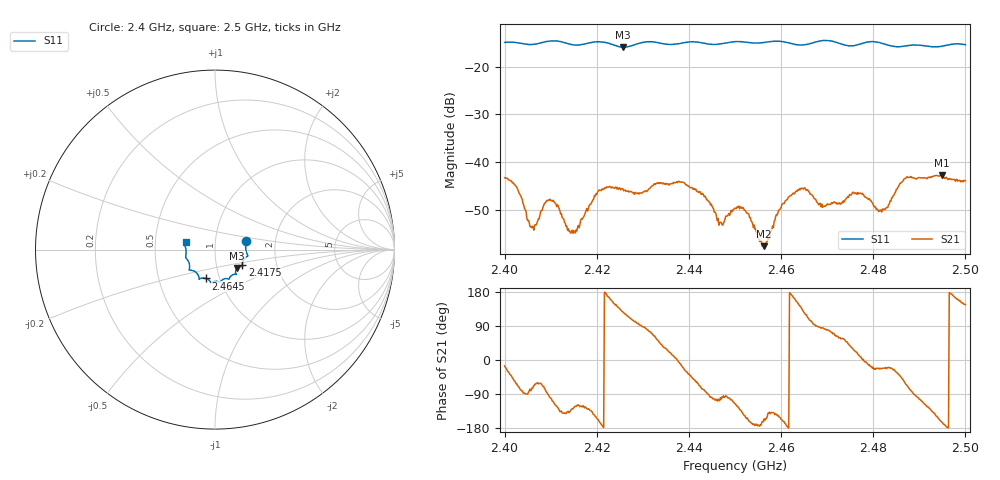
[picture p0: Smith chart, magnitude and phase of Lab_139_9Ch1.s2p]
# Hz S RI R 50
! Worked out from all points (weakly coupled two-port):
!   601 points, 2.4 GHz to 2.5 GHz, reference 50 ohm
!   highest |S21| = -42.74 dB at 2.4948 GHz (marker M1); lowest = -57.6 dB at 2.4563 GHz (marker M2)
!   lowest |S11| = -15.9 dB at 2.4257 GHz (marker M3), VSWR 1.38, Z = 62.5 - j13.1 ohm
!   |S11| at or under -10 dB: start of sweep to end of sweep
!   S12 and S22 are empty: the file has one direction only
!   S11 on the Smith chart (normalised r, x): 2.4 GHz: 1.41, +0.14; 2.4175 GHz: 1.34, -0.23; 2.4645 GHz: 0.86, -0.28; 2.5 GHz: 0.72, +0.06
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2.4e9  0.1729 0.0486  0.00661 -0.00181  0 0  0 0
2.402833e9  0.1745 0.0354  0.00194 -0.00481  0 0  0 0
2.405833e9  0.1705 0.00407  0.000444 -0.00201  0 0  0 0
2.409667e9  0.1824 -0.0316  -0.000384 -0.00398  0 0  0 0
2.414167e9  0.1651 -0.0481  -0.00136 -0.00131  0 0  0 0
2.416667e9  0.1529 -0.074  -0.00136 -0.00214  0 0  0 0
2.4175e9  0.1519 -0.0832  -0.00163 -0.00243  0 0  0 0
2.420667e9  0.154 -0.0974  -0.00486 -0.00131  0 0  0 0
2.425667e9  0.1229 -0.1019  -0.00317 0.00419  0 0  0 0
2.433333e9  0.1131 -0.1373  0.00376 0.00468  0 0  0 0
2.4425e9  0.0721 -0.1637  0.00163 -0.00455  0 0  0 0
2.447e9  0.0405 -0.1688  -0.000542 -0.00227  0 0  0 0
2.45e9  0.0288 -0.1807  -0.00143 -0.00297  0 0  0 0
2.4525e9  0.0203 -0.1791  -0.00266 -0.00125  0 0  0 0
2.456333e9  -0.0086 -0.1791  -0.0012 -0.000547  0 0  0 0
2.46e9  -0.0242 -0.1824  -0.00305 -0.00132  0 0  0 0
2.4645e9  -0.0518 -0.1604  -0.00376 0.00373  0 0  0 0
2.466667e9  -0.0758 -0.1594  -0.000807 0.00448  0 0  0 0
2.483333e9  -0.1413 -0.0901  0.00338 -0.00119  0 0  0 0
2.487167e9  -0.156 -0.0544  0.00287 -0.0062  0 0  0 0
2.494833e9  -0.1634 0.00743  -0.00698 -0.00214  0 0  0 0
2.5e9  -0.1641 0.0431  -0.00526 0.00356  0 0  0 0
